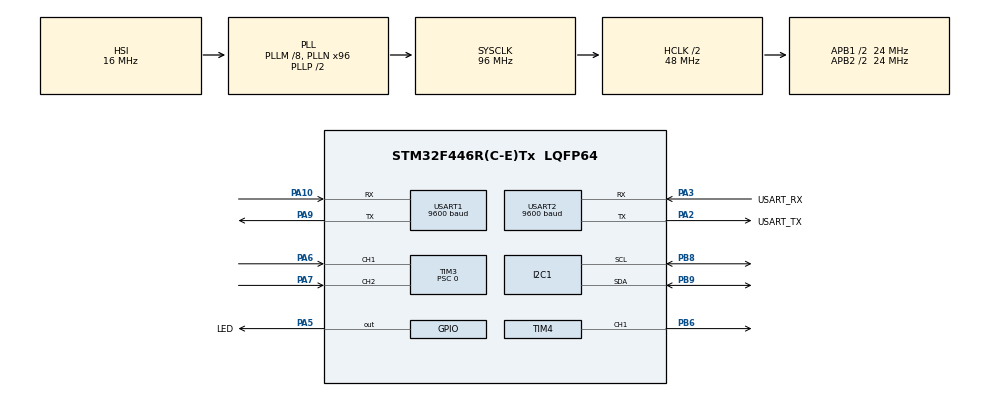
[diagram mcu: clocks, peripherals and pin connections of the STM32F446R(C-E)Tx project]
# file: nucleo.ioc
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Dma.Request0=TIM4_CH1
Dma.Request1=USART1_RX
Dma.TIM4_CH1.0.Direction=DMA_MEMORY_TO_PERIPH
Dma.TIM4_CH1.0.FIFOMode=DMA_FIFOMODE_DISABLE
Dma.TIM4_CH1.0.Instance=DMA1_Stream0
Dma.TIM4_CH1.0.MemDataAlignment=DMA_MDATAALIGN_HALFWORD
Dma.TIM4_CH1.0.MemInc=DMA_MINC_ENABLE
Dma.TIM4_CH1.0.Mode=DMA_CIRCULAR
Dma.TIM4_CH1.0.PeriphDataAlignment=DMA_PDATAALIGN_HALFWORD
Dma.TIM4_CH1.0.PeriphInc=DMA_PINC_DISABLE
Dma.TIM4_CH1.0.Priority=DMA_PRIORITY_HIGH
Dma.USART1_RX.1.Direction=DMA_PERIPH_TO_MEMORY
Dma.USART1_RX.1.FIFOMode=DMA_FIFOMODE_DISABLE
Dma.USART1_RX.1.Instance=DMA2_Stream2
Dma.USART1_RX.1.MemDataAlignment=DMA_MDATAALIGN_BYTE
Dma.USART1_RX.1.MemInc=DMA_MINC_ENABLE
Dma.USART1_RX.1.Mode=DMA_NORMAL
Dma.USART1_RX.1.PeriphDataAlignment=DMA_PDATAALIGN_BYTE
Dma.USART1_RX.1.PeriphInc=DMA_PINC_DISABLE
Dma.USART1_RX.1.Priority=DMA_PRIORITY_MEDIUM
I2C1.I2C_Mode=I2C_Fast
Mcu.Family=STM32F4
Mcu.Name=STM32F446R(C-E)Tx
Mcu.Package=LQFP64
NVIC.DMA1_Stream0_IRQn=true\:0\:0\:false\:false\:true\:false\:true\:true
NVIC.DMA2_Stream2_IRQn=true\:0\:0\:false\:false\:true\:false\:true\:true
NVIC.PriorityGroup=NVIC_PRIORITYGROUP_0
NVIC.TIM6_DAC_IRQn=true\:0\:0\:false\:false\:true\:true\:true\:true
NVIC.USART1_IRQn=true\:0\:0\:false\:false\:true\:true\:true\:true
PA10.Mode=Asynchronous
PA10.Signal=USART1_RX
PA13.GPIO_Label=SWDIO
PA13.Mode=Serial_Wire
PA13.Signal=SYS_JTMS-SWDIO
PA14.GPIO_Label=SWCLK
PA14.Mode=Serial_Wire
PA14.Signal=SYS_JTCK-SWCLK
PA2.GPIO_Label=USART_TX
PA2.Mode=Asynchronous
PA2.Signal=USART2_TX
PA3.GPIO_Label=USART_RX
PA3.Mode=Asynchronous
PA3.Signal=USART2_RX
PA5.GPIO_Label=LED
PA5.Signal=GPIO_Output
PA6.Signal=S_TIM3_CH1
PA7.Signal=S_TIM3_CH2
PA9.Mode=Asynchronous
PA9.Signal=USART1_TX
PB6.Signal=S_TIM4_CH1
PB8.Mode=I2C
PB8.Signal=I2C1_SCL
PB9.Mode=I2C
PB9.Signal=I2C1_SDA
ProjectManager.HeapSize=0x200
ProjectManager.StackSize=0x400
ProjectManager.TargetToolchain=STM32CubeIDE
RCC.48MHZClocksFreq_Value=84000000
RCC.AHBCLKDivider=RCC_SYSCLK_DIV2
RCC.AHBFreq_Value=48000000
RCC.APB1CLKDivider=RCC_HCLK_DIV2
RCC.APB1Freq_Value=24000000
RCC.APB1TimFreq_Value=48000000
RCC.APB2CLKDivider=RCC_HCLK_DIV2
RCC.APB2Freq_Value=24000000
RCC.APB2TimFreq_Value=48000000
RCC.CortexFreq_Value=48000000
RCC.FLatency-AdvancedSettings=FLASH_LATENCY_1
RCC.HCLKFreq_Value=48000000
RCC.HSE_VALUE=8000000
RCC.HSI_VALUE=16000000
RCC.PLLM=8
RCC.PLLN=96
RCC.SYSCLKFreq_VALUE=96000000
RCC.SYSCLKSource=RCC_SYSCLKSOURCE_PLLCLK
RCC.USBFreq_Value=96000000
RCC.VCOOutputFreq_Value=192000000
SH.S_TIM3_CH1.0=TIM3_CH1,Encoder_Interface
SH.S_TIM3_CH2.0=TIM3_CH2,Encoder_Interface
SH.S_TIM4_CH1.0=TIM4_CH1,PWM Generation1 CH1
TIM3.AutoReloadPreload=TIM_AUTORELOAD_PRELOAD_ENABLE
TIM3.ClockDivision=TIM_CLOCKDIVISION_DIV1
TIM3.EncoderMode=TIM_ENCODERMODE_TI12
TIM3.IC1Filter=10
TIM3.IC1Polarity=TIM_ICPOLARITY_FALLING
TIM3.IC1Prescaler=TIM_ICPSC_DIV1
TIM3.IC2Filter=10
TIM3.IC2Polarity=TIM_ICPOLARITY_FALLING
TIM3.IC2Prescaler=TIM_ICPSC_DIV1
TIM3.Period=15
TIM3.Prescaler=0
TIM4.AutoReloadPreload=TIM_AUTORELOAD_PRELOAD_ENABLE
TIM4.Channel-PWM\ Generation1\ CH1=TIM_CHANNEL_1
TIM4.OCMode_PWM-PWM\ Generation1\ CH1=TIM_OCMODE_PWM1
TIM4.Period=100
TIM4.Prescaler=10
TIM4.Pulse-PWM\ Generation1\ CH1=0
TIM6.AutoReloadPreload=TIM_AUTORELOAD_PRELOAD_ENABLE
TIM6.Period=1
TIM6.Prescaler=19999
USART1.BaudRate=9600
USART1.VirtualMode=VM_ASYNC
USART2.BaudRate=9600
USART2.VirtualMode=VM_ASYNC
VP_TIM6_VS_ClockSourceINT.Mode=Enable_Timer
board=NUCLEO-F446RE

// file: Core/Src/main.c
/* USER CODE BEGIN Header */
/**
 ******************************************************************************
 * @file           : main.c
 * @brief          : Main program body
 ******************************************************************************
 * @attention
 *
 * Copyright (c) 2022 STMicroelectronics.
 * All rights reserved.
 *
 * This software is licensed under terms that can be found in the LICENSE file
 * in the root directory of this software component.
 * If no LICENSE file comes with this software, it is provided AS-IS.
 *
 ******************************************************************************
 */
/* USER CODE END Header */
#include "main.h"
#include "dma.h"
#include "i2c.h"
#include "tim.h"
#include "usart.h"
#include "gpio.h"

/* USER CODE BEGIN Includes */
#include <stdio.h>
#include <ssd1306.h>
#include <aprs.h>
/* USER CODE END Includes */

/* USER CODE BEGIN PV */
extern DMA_HandleTypeDef hdma_tim6_up;
/* USER CODE END PV */

void SystemClock_Config(void);

int main(void)
{

	/* MCU Configuration--------------------------------------------------------*/

	/* Reset of all peripherals, Initializes the Flash interface and the Systick. */
	HAL_Init();

	/* Configure the system clock */
	SystemClock_Config();

	/* Initialize all configured peripherals */
	MX_GPIO_Init();
	MX_DMA_Init();
	MX_USART2_UART_Init();
	MX_I2C1_Init();
	MX_TIM3_Init();
	MX_TIM4_Init();
	MX_TIM6_Init();
	MX_USART1_UART_Init();
	/* USER CODE BEGIN 2 */

	SSD1306_Init();

	SSD1306_GotoXY (0, 0);
	SSD1306_Puts("HA3PB", &Font_7x10, 1);

	SSD1306_GotoXY(0, 10);
	SSD1306_Puts("APRS GADGET", &Font_11x18, 1);

	char counter[12];

	char menu[4][7] = {"CALL","PERIOD","ICON","QUIT"};

	APRS_Init();
	APRS_SendPacket();

	HAL_TIM_Encoder_Start(&htim3, TIM_CHANNEL_ALL);

	SSD1306_UpdateScreen();

	/* USER CODE END 2 */

	/* Infinite loop */
	while (1)
	{

		/* USER CODE BEGIN 3 */

		sprintf(counter, "MENU:%6s", menu[(__HAL_TIM_GET_COUNTER(&htim3))>>2]);
		SSD1306_GotoXY(0, 10);
		SSD1306_Puts(counter, &Font_11x18, 1);
		SSD1306_UpdateScreen();

		HAL_Delay(20);

	}
	/* USER CODE END 3 */
}

void SystemClock_Config(void)
{
	RCC_OscInitTypeDef RCC_OscInitStruct = {0};
	RCC_ClkInitTypeDef RCC_ClkInitStruct = {0};

	/** Configure the main internal regulator output voltage
	 */
	__HAL_RCC_PWR_CLK_ENABLE();
	__HAL_PWR_VOLTAGESCALING_CONFIG(PWR_REGULATOR_VOLTAGE_SCALE3);

	/** Initializes the RCC Oscillators according to the specified parameters
	 * in the RCC_OscInitTypeDef structure.
	 */
	RCC_OscInitStruct.OscillatorType = RCC_OSCILLATORTYPE_HSI;
	RCC_OscInitStruct.HSIState = RCC_HSI_ON;
	RCC_OscInitStruct.HSICalibrationValue = RCC_HSICALIBRATION_DEFAULT;
	RCC_OscInitStruct.PLL.PLLState = RCC_PLL_ON;
	RCC_OscInitStruct.PLL.PLLSource = RCC_PLLSOURCE_HSI;
	RCC_OscInitStruct.PLL.PLLM = 8;
	RCC_OscInitStruct.PLL.PLLN = 96;
	RCC_OscInitStruct.PLL.PLLP = RCC_PLLP_DIV2;
	RCC_OscInitStruct.PLL.PLLQ = 2;
	RCC_OscInitStruct.PLL.PLLR = 2;
	if (HAL_RCC_OscConfig(&RCC_OscInitStruct) != HAL_OK)
	{
		Error_Handler();
	}

	/** Initializes the CPU, AHB and APB buses clocks
	 */
	RCC_ClkInitStruct.ClockType = RCC_CLOCKTYPE_HCLK|RCC_CLOCKTYPE_SYSCLK
			|RCC_CLOCKTYPE_PCLK1|RCC_CLOCKTYPE_PCLK2;
	RCC_ClkInitStruct.SYSCLKSource = RCC_SYSCLKSOURCE_PLLCLK;
	RCC_ClkInitStruct.AHBCLKDivider = RCC_SYSCLK_DIV2;
	RCC_ClkInitStruct.APB1CLKDivider = RCC_HCLK_DIV2;
	RCC_ClkInitStruct.APB2CLKDivider = RCC_HCLK_DIV2;

	if (HAL_RCC_ClockConfig(&RCC_ClkInitStruct, FLASH_LATENCY_1) != HAL_OK)
	{
		Error_Handler();
	}
}

void Error_Handler(void)
{
	__disable_irq();
	while (1)
	{
	}
}
